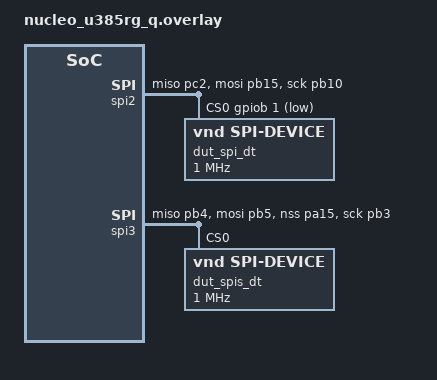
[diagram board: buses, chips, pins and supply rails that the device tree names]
/*
 * SPDX-FileCopyrightText: Copyright (c) 2026 STMicroelectronics
 * SPDX-License-Identifier: Apache-2.0
 */

/* The two SPI instances need to be connected as follows:
 * CN7:35 (SPI2 MISO) to CN10:27 (SPI3 MISO)
 * CN10:26 (SPI2 MOSI) to CN10:29 (SPI3 MOSI)
 * CN10:24 (SPI2 CS) to CN7:17 (SPI3 NSS)
 * CN10:25 (SPI2 SCK) to CN10:31 (SPI3 SCK)
 */

&spi2 {
	pinctrl-0 = <&spi2_miso_pc2 &spi2_mosi_pb15 &spi2_sck_pb10>;
	pinctrl-names = "default";
	cs-gpios = <&gpiob 1 GPIO_ACTIVE_LOW>;
	interrupts = <60 1>;
	status = "okay";

	dut_spi_dt: test-spi-dev@0 {
		compatible = "vnd,spi-device";
		spi-max-frequency = <DT_FREQ_M(1)>;
		reg = <0>;
	};
};

dut_spis: &spi3 {
	pinctrl-0 = <&spi3_miso_pb4 &spi3_mosi_pb5 &spi3_nss_pa15 &spi3_sck_pb3>;
	pinctrl-names = "default";
	status = "okay";

	dut_spis_dt: test-spi-dev@0 {
		compatible = "vnd,spi-device";
		spi-max-frequency = <DT_FREQ_M(1)>;
		reg = <0>;
	};
};
